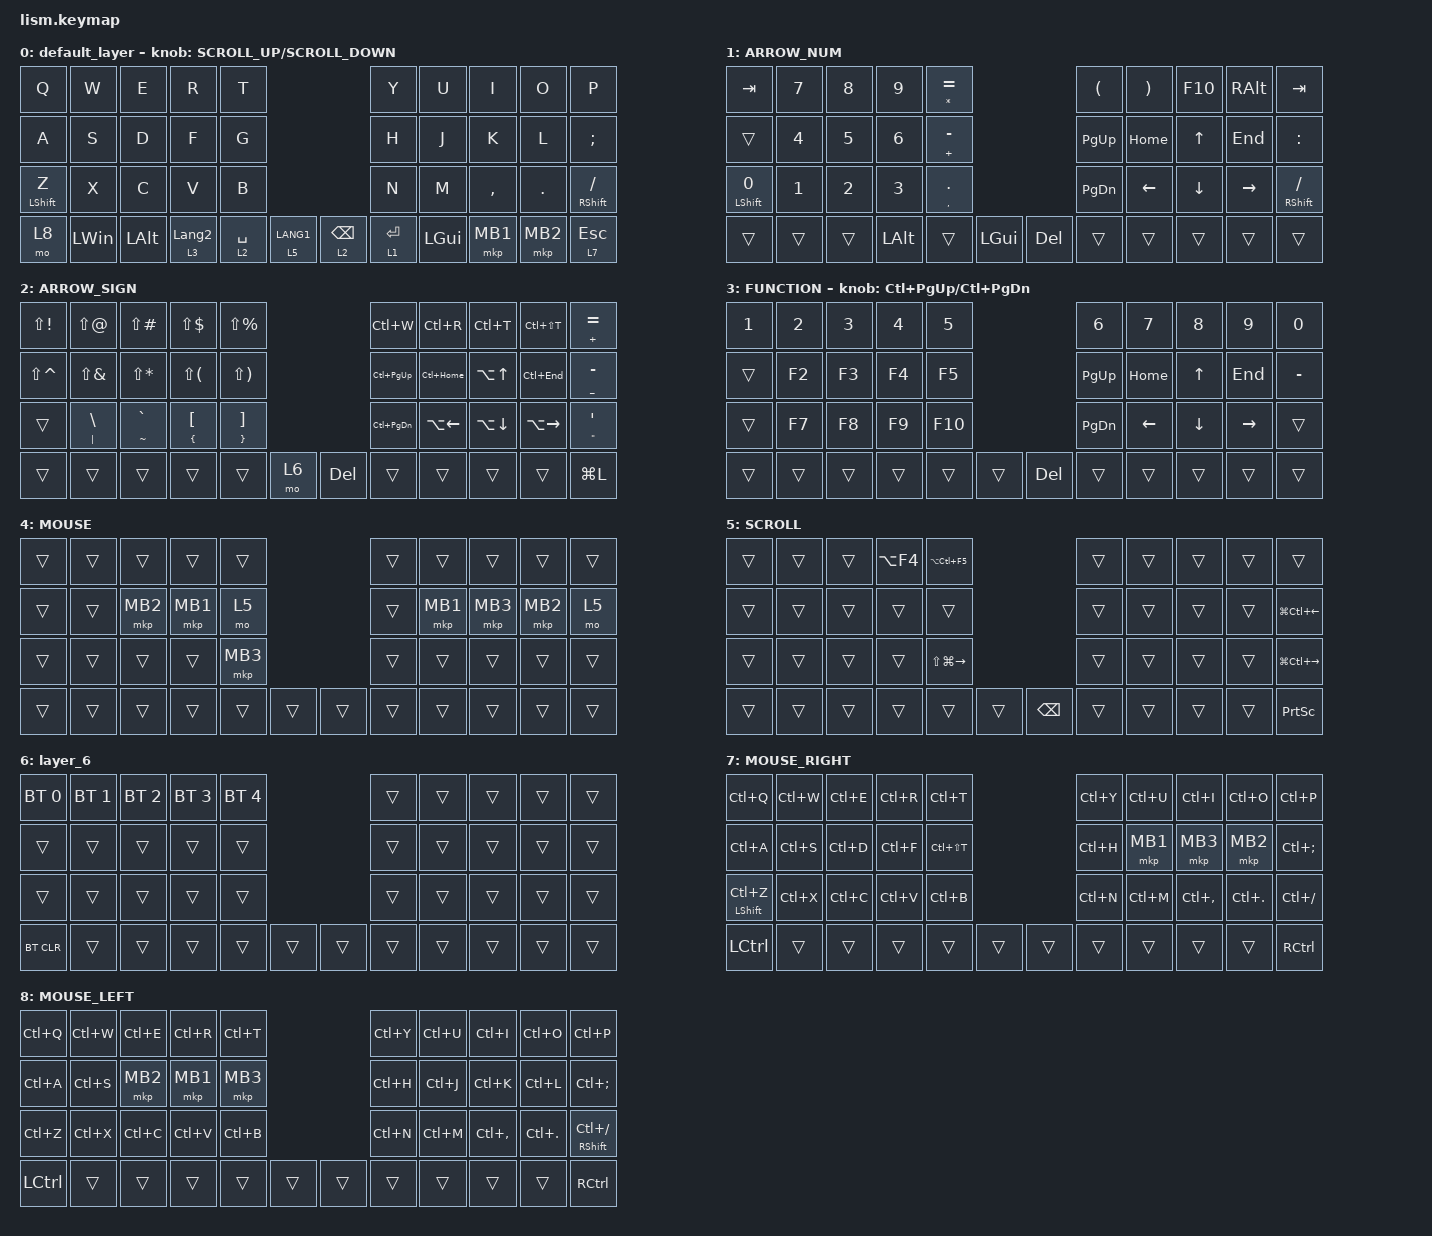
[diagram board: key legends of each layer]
#define ZMK_POINTING_DEFAULT_SCRL_VAL 200

#include <dt-bindings/zmk/mouse.h>
#include <behaviors.dtsi>
#include <dt-bindings/zmk/bt.h>
#include <dt-bindings/zmk/keys.h>
#include <dt-bindings/zmk/pointing.h>

#define ARROW_NUM 1
#define ARROW_SIGN 2
#define FUNCTION 3
#define MOUSE 4
#define SCROLL 5
#define MOUSE_RIGHT 7
#define MOUSE_LEFT 8

&mt {
    flavor = "hold-preferred";
    quick-tap-ms = <300>;
    tapping-term-ms = <200>;
};

&lt {
    flavor = "hold-preferred";
    quick-tap-ms = <300>;
    tapping-term-ms = <200>;
};

// 移植元: LiNEA40.keymap（ポインティング設定保持）

&mmv {
    delay-ms = <20>;
    trigger-period-ms = <5>;
    time-to-max-speed-ms = <100>;
    acceleration-exponent = <2>;
};

&msc {
    delay-ms = <3>;
    trigger-period-ms = <3>;
    time-to-max-speed-ms = <100>;
    acceleration-exponent = <0>;
};

/ {
    input_processors {
        zip_wheel_scaler: zip_wheel_scaler {
            compatible = "zmk,input-processor-scaler";
            #input-processor-cells = <2>;
            type = <INPUT_EV_REL>;
            codes = <INPUT_REL_WHEEL>;
            track-remainders;
        };
    };
};

&msc_input_listener {
    speed_up {
        layers = <FUNCTION>;
        input-processors = <&zip_wheel_scaler 3 1>;
    };
};

/*
&trackball_listener {
    scroller {
        layers = <SCROLL>;
        input-processors =
            <&zip_xy_transform INPUT_TRANSFORM_Y_INVERT>,
            <&zip_xy_to_scroll_mapper>;
    };
};
*/
// 移植元: LiNEA40.keymap（動作・回転センサ挙動）

/ {
    behaviors {
        re_kp: sensor_rotate_kp {
            compatible = "zmk,behavior-sensor-rotate-var";
            #sensor-binding-cells = <2>;
            bindings = <&kp>, <&kp>;
        };

        mouse_scrl: mouse_wheel_scrl {
            compatible = "zmk,behavior-sensor-rotate-var";
            #sensor-binding-cells = <2>;
            bindings = <&msc>, <&msc>;

            tap-ms = <20>;
        };
    };
};

// 移植元: Seaside39.keymap（追加ビヘイビア・マクロ）

/ {
    macros {
        to_layer_0: to_layer_0 {
            compatible = "zmk,behavior-macro-one-param";
            #binding-cells = <1>;
            bindings = <&to 0 &macro_param_1to1 &kp MACRO_PLACEHOLDER>;
            label = "TO_LAYER_0";
        };
    };

    behaviors {
        lt_to_layer_0: lt_to_layer_0 {
            compatible = "zmk,behavior-hold-tap";
            label = "LAYER_TAP_TO_0";
            bindings = <&mo>, <&to_layer_0>;

            #binding-cells = <2>;
            flavor = "hold-preferred";
            quick-tap-ms = <300>;
            tapping-term-ms = <200>;
        };

        mt_balanced: mod_tap_balanced {
            compatible = "zmk,behavior-hold-tap";
            label = "MOD_TAP_BALANCED";
            #binding-cells = <2>;
            tapping-term-ms = <125>;
            flavor = "balanced";
            bindings = <&kp>, <&kp>;
        };

        td_z_shft: tap_dance {
            compatible = "zmk,behavior-tap-dance";
            #binding-cells = <0>;
            tapping-term-ms = <200>;
            bindings = <&kp Z>, <&kp LSHFT>;
        };

        lt_balanced: lt_balanced {
            compatible = "zmk,behavior-hold-tap";
            label = "LT_BALANCED";
            bindings = <&mo>, <&kp>;

            #binding-cells = <2>;
            tapping-term-ms = <200>;
            flavor = "tap-preferred";
            quick-tap-ms = <200>;
        };
    };
};

// 移植元: LiNEA40 + Seaside39（コンボ統合）

/ {
    combos {
        compatible = "zmk,combos";

        // LiNEA40 由来

        PrevClick {
            bindings = <&mkp MB4>;
            key-positions = <27 26>;
        };

        ClickNext {
            bindings = <&mkp MB5>;
            key-positions = <28 27>;
        };

        // Seaside39 由来

        right_ctrl {
            bindings = <&kp RCTRL>;
            key-positions = <39 40>;
        };

        left_ctrl {
            bindings = <&kp LCTRL>;
            key-positions = <30 31>;
        };

        tab {
            bindings = <&kp TAB>;
            key-positions = <0 1>;
        };

        left_ctrl_shift {
            bindings = <&kp LS(LCTRL)>;
            key-positions = <20 21>;
        };

        scroll_rihgt {
            bindings = <&mo 5>;
            key-positions = <18 19>;
        };

        scroll_left {
            bindings = <&mo 5>;
            key-positions = <13 14>;
        };

        MB3_RIGHT {
            bindings = <&mkp MB3>;
            key-positions = <17 18>;
        };

        right_ctrl_shift {
            bindings = <&kp RC(RIGHT_SHIFT)>;
            key-positions = <29 28>;
        };

        ZenkakuHankaku {
            bindings = <&kp LC(SPACE)>;
            key-positions = <10 34>;
        };
    };
};

// 移植元: Seaside39.keymap（レイヤーを LiNEA40 物理配置に合わせて移植）
// 1〜3段目: 5キー + 5キー。4段目: 左6キー + 中央2キー + 右3キー。A/B位置は &trans。

/ {
    keymap {
        compatible = "zmk,keymap";

        // 移植元: Seaside39 default_layer

        default_layer {
            bindings = <
&kp Q                      &kp W         &kp E         &kp R             &kp T                                                 &kp Y                 &kp U         &kp I      &kp O     &kp P
&kp A                      &kp S         &kp D         &kp F             &kp G                                                 &kp H                 &kp J         &kp K      &kp L     &kp SEMICOLON
&mt_balanced LEFT_SHIFT Z  &kp X         &kp C         &kp V             &kp B                                                 &kp N                 &kp M         &kp COMMA  &kp DOT   &mt_balanced RIGHT_SHIFT SLASH
&mo 8                      &kp LEFT_WIN  &kp LEFT_ALT  &lt 3 LANGUAGE_2  &lt_balanced 2 SPACE  &lt 5 LANG1    &lt 2 BACKSPACE  &lt_balanced 1 ENTER  &kp LEFT_GUI  &mkp MB1   &mkp MB2  &lt 7 ESCAPE
            >;

            sensor-bindings = <&inc_dec_kp K_SCROLL_UP K_SCROLL_DOWN>;
        };

        // 移植元: Seaside39 ARROW_NUM

        ARROW_NUM {
            bindings = <
&kp TAB                     &kp N7  &kp N8        &kp N9        &mt ASTERISK EQUAL                              &kp LEFT_PARENTHESIS  &kp RIGHT_PARENTHESIS  &kp F10       &kp RIGHT_ALT  &kp TAB
&trans                      &kp N4  &kp N5        &kp N6        &mt PLUS MINUS                                  &kp PAGE_UP           &kp HOME               &kp UP_ARROW  &kp END        &kp COLON
&mt_balanced LEFT_SHIFT N0  &kp N1  &kp NUMBER_2  &kp NUMBER_3  &mt COMMA DOT                                   &kp PAGE_DOWN         &kp LEFT_ARROW         &kp DOWN      &kp RIGHT      &mt RIGHT_SHIFT SLASH
&trans                      &trans  &trans        &kp LEFT_ALT  &trans              &kp LEFT_GUI    &kp DELETE  &trans                &trans                 &trans        &trans         &trans
            >;
        };

        // 移植元: Seaside39 ARROW_SIGN

        ARROW_SIGN {
            bindings = <
&kp LS(EXCL)   &kp LS(AT)          &kp LS(POUND)    &kp LS(DLLR)                 &kp LS(PRCNT)                                       &kp LC(W)          &kp LC(R)     &kp LC(T)         &kp LC(LS(T))  &mt PLUS EQUAL
&kp LS(CARET)  &kp LS(AMPS)        &kp LS(STAR)     &kp LS(LPAR)                 &kp LS(RPAR)                                        &kp LC(PAGE_UP)    &kp LC(HOME)  &kp LA(UP_ARROW)  &kp LC(END)    &mt UNDER MINUS
&trans         &mt PIPE BACKSLASH  &mt TILDE GRAVE  &mt LEFT_BRACE LEFT_BRACKET  &mt RIGHT_BRACE RIGHT_BRACKET                       &kp LC(PAGE_DOWN)  &kp LA(LEFT)  &kp LA(DOWN)      &kp LA(RIGHT)  &mt DOUBLE_QUOTES SINGLE_QUOTE
&trans         &trans              &trans           &trans                       &trans                         &mo 6    &kp DELETE  &trans             &trans        &trans            &trans         &kp LG(L)
            >;
        };

        // 移植元: Seaside39 FUNCTION（レイヤー番号3）

        FUNCTION {
            bindings = <
&kp NUMBER_1  &kp NUMBER_2  &kp NUMBER_3  &kp NUMBER_4  &kp N5                         &kp NUMBER_6   &kp N7    &kp N8        &kp N9     &kp N0
&trans        &kp F2        &kp F3        &kp F4        &kp F5                         &kp PAGE_UP    &kp HOME  &kp UP_ARROW  &kp END    &kp MINUS
&trans        &kp F7        &kp F8        &kp F9        &kp F10                        &kp PAGE_DOWN  &kp LEFT  &kp DOWN      &kp RIGHT  &trans
&trans        &trans        &trans        &trans        &trans   &trans    &kp DELETE  &trans         &trans    &trans        &trans     &trans
            >;

            sensor-bindings = <&inc_dec_kp LC(PAGE_UP) LC(PAGE_DOWN)>;
        };

        // 移植元: Seaside39 MOUSE（レイヤー番号4）

        MOUSE {
            bindings = <
&trans  &trans  &trans    &trans    &trans                      &trans  &trans    &trans    &trans    &trans
&trans  &trans  &mkp MB2  &mkp MB1  &mo 5                       &trans  &mkp MB1  &mkp MB3  &mkp MB2  &mo 5
&trans  &trans  &trans    &trans    &mkp MB3                    &trans  &trans    &trans    &trans    &trans
&trans  &trans  &trans    &trans    &trans    &trans    &trans  &trans  &trans    &trans    &trans    &trans
            >;
        };

        // 移植元: Seaside39 SCROLL（レイヤー番号5）

        SCROLL {
            bindings = <
&trans  &trans  &trans  &kp LA(F4)  &kp LA(LC(F5))                              &trans  &trans  &trans  &trans  &trans
&trans  &trans  &trans  &trans      &trans                                      &trans  &trans  &trans  &trans  &kp LG(LC(LEFT_ARROW))
&trans  &trans  &trans  &trans      &kp LS(LG(RIGHT))                           &trans  &trans  &trans  &trans  &kp LG(LC(RIGHT))
&trans  &trans  &trans  &trans      &trans             &trans    &kp BACKSPACE  &trans  &trans  &trans  &trans  &kp PRINTSCREEN
            >;
        };

        // 移植元: Seaside39 layer_6（レイヤー番号6; Bluetooth）

        layer_6 {
            bindings = <
&bt BT_SEL 0  &bt BT_SEL 1  &bt BT_SEL 2  &bt BT_SEL 3  &bt BT_SEL 4                    &trans  &trans  &trans  &trans  &trans
&trans        &trans        &trans        &trans        &trans                          &trans  &trans  &trans  &trans  &trans
&trans        &trans        &trans        &trans        &trans                          &trans  &trans  &trans  &trans  &trans
&bt BT_CLR    &trans        &trans        &trans        &trans        &trans    &trans  &trans  &trans  &trans  &trans  &trans
            >;
        };

        // 移植元: Seaside39 MOUSE_RIGHT（レイヤー番号7）

        MOUSE_RIGHT {
            bindings = <
&kp LC(Q)             &kp LC(W)  &kp LC(E)  &kp LC(R)  &kp LC(T)                        &kp LC(Y)  &kp LC(U)  &kp LC(I)      &kp LC(O)    &kp LC(P)
&kp LC(A)             &kp LC(S)  &kp LC(D)  &kp LC(F)  &kp LC(LS(T))                    &kp LC(H)  &mkp MB1   &mkp MB3       &mkp MB2     &kp LC(SEMICOLON)
&mt LEFT_SHIFT LC(Z)  &kp LC(X)  &kp LC(C)  &kp LC(V)  &kp LC(B)                        &kp LC(N)  &kp LC(M)  &kp LC(COMMA)  &kp LC(DOT)  &kp LC(FSLH)
&kp LCTRL             &trans     &trans     &trans     &trans         &trans    &trans  &trans     &trans     &trans         &trans       &kp RCTRL
            >;
        };

        // 移植元: Seaside39 MOUSE_LEFT（レイヤー番号8）

        MOUSE_LEFT {
            bindings = <
&kp LC(Q)  &kp LC(W)  &kp LC(E)  &kp LC(R)  &kp LC(T)                    &kp LC(Y)  &kp LC(U)  &kp LC(I)      &kp LC(O)    &kp LC(P)
&kp LC(A)  &kp LC(S)  &mkp MB2   &mkp MB1   &mkp MB3                     &kp LC(H)  &kp LC(J)  &kp LC(K)      &kp LC(L)    &kp LC(SEMI)
&kp LC(Z)  &kp LC(X)  &kp LC(C)  &kp LC(V)  &kp LC(B)                    &kp LC(N)  &kp LC(M)  &kp LC(COMMA)  &kp LC(DOT)  &mt RIGHT_SHIFT LC(SLASH)
&kp LCTRL  &trans     &trans     &trans     &trans     &trans    &trans  &trans     &trans     &trans         &trans       &kp RCTRL
            >;
        };
    };
};
